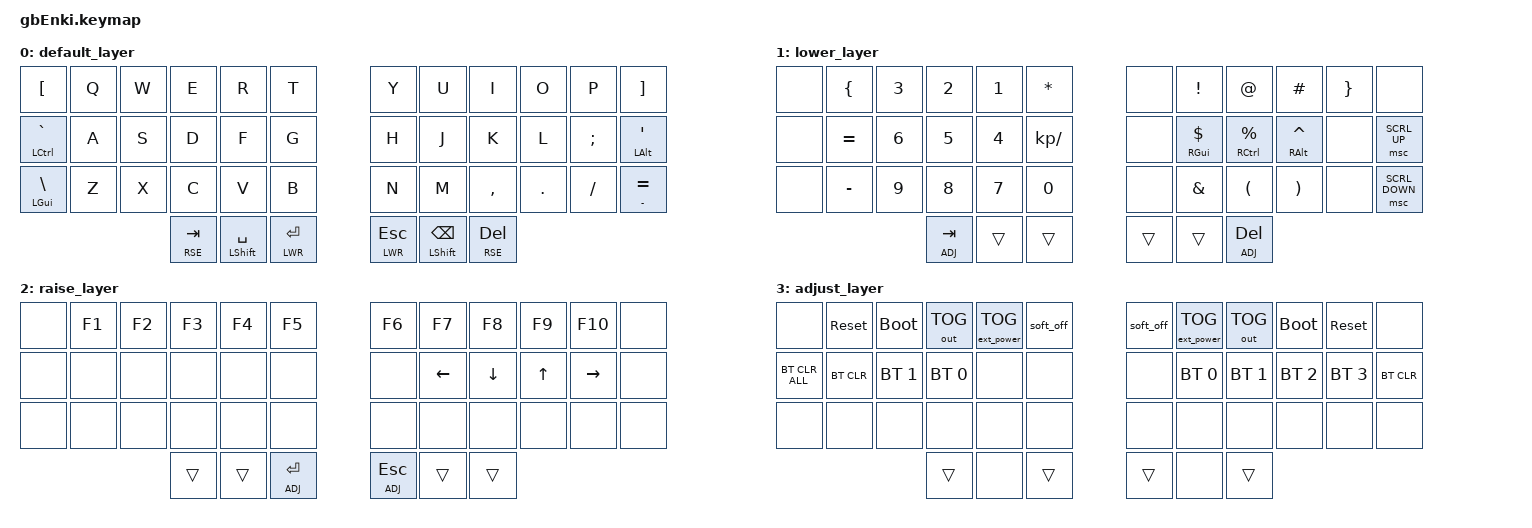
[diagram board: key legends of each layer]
#include <behaviors.dtsi>
#include <dt-bindings/zmk/bt.h>
#include <dt-bindings/zmk/ext_power.h>
#include <dt-bindings/zmk/keys.h>
#include <dt-bindings/zmk/outputs.h>
#include <dt-bindings/zmk/pointing.h>

#define DEF 0
#define LWR 1
#define RSE 2
#define ADJ 3

/ {
    behaviors {
        hr: hr {
            compatible = "zmk,behavior-hold-tap";
            label = "home_row";
            bindings = <&kp>, <&kp>;

            #binding-cells = <2>;
            tapping-term-ms = <150>;
            quick-tap-ms = <250>;
            flavor = "tap-preferred";
        };
    };

    keymap {
        compatible = "zmk,keymap";

        default_layer {
            bindings = <
&kp LBKT                &kp Q  &kp W  &kp E        &kp R            &kp T          &kp Y        &kp U                &kp I        &kp O    &kp P     &kp RBKT
&hr LEFT_CONTROL GRAVE  &kp A  &kp S  &kp D        &kp F            &kp G          &kp H        &kp J                &kp K        &kp L    &kp SEMI  &hr LEFT_ALT SQT
&hr LEFT_GUI BSLH       &kp Z  &kp X  &kp C        &kp V            &kp B          &kp N        &kp M                &kp COMMA    &kp DOT  &kp FSLH  &hr MINUS EQUAL
                                      &lt RSE TAB  &mt LSHFT SPACE  &lt LWR RET    &lt LWR ESC  &mt LEFT_SHIFT BSPC  &lt RSE DEL
            >;
        };

        lower_layer {
            bindings = <
&none  &kp LBRC   &kp N3  &kp N2        &kp N1  &kp ASTERISK     &none   &kp EXCL              &kp AT             &kp HASH             &kp RBRC  &none
&none  &kp EQUAL  &kp N6  &kp NUMBER_5  &kp N4  &kp KP_DIVIDE    &none   &hr RIGHT_GUI DOLLAR  &hr RCTRL PERCENT  &hr RIGHT_ALT CARET  &none     &msc SCRL_UP
&none  &kp MINUS  &kp N9  &kp N8        &kp N7  &kp N0           &none   &kp AMPS              &kp LPAR           &kp RPAR             &none     &msc SCRL_DOWN
                          &lt ADJ TAB   &trans  &trans           &trans  &trans                &lt ADJ DEL
            >;
        };

        raise_layer {
            bindings = <
&none  &kp F1  &kp F2  &kp F3  &kp F4  &kp F5         &kp F6       &kp F7    &kp F8    &kp F9  &kp F10          &none
&none  &none   &none   &none   &none   &none          &none        &kp LEFT  &kp DOWN  &kp UP  &kp RIGHT_ARROW  &none
&none  &none   &none   &none   &none   &none          &none        &none     &none     &none   &none            &none
                       &trans  &trans  &lt ADJ RET    &lt ADJ ESC  &trans    &trans
            >;
        };

        adjust_layer {
            bindings = <
&none           &sys_reset  &bootloader   &out OUT_TOG  &ext_power EP_TOG  &soft_off    &soft_off  &ext_power EP_TOG  &out OUT_TOG  &bootloader   &sys_reset    &none
&bt BT_CLR_ALL  &bt BT_CLR  &bt BT_SEL 1  &bt BT_SEL 0  &none              &none        &none      &bt BT_SEL 0       &bt BT_SEL 1  &bt BT_SEL 2  &bt BT_SEL 3  &bt BT_CLR
&none           &none       &none         &none         &none              &none        &none      &none              &none         &none         &none         &none
                                          &trans        &none              &trans       &trans     &none              &trans
            >;
        };
    };
};
